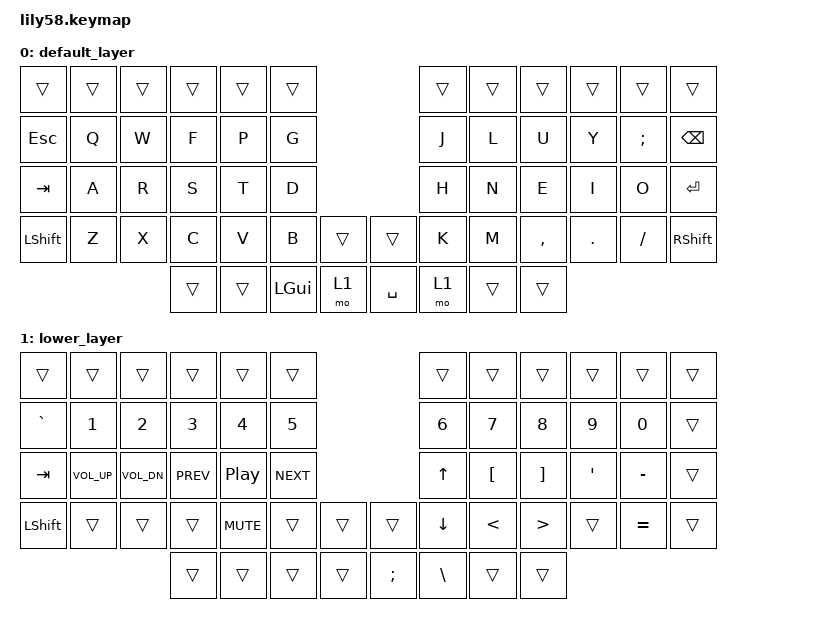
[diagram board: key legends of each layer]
/*
 * Copyright (c) 2020 The ZMK Contributors
 *
 * SPDX-License-Identifier: MIT
 */

#include <behaviors.dtsi>
#include <dt-bindings/zmk/keys.h>
#include <dt-bindings/zmk/bt.h>
#include <dt-bindings/zmk/ext_power.h>

/ {
    keymap {
        compatible = "zmk,keymap";

        default_layer {
            // ------------------------------------------------------------------------------------------------------------
            // |       |     |     |      |      |      |                   |      |       |       |      |       |       |
            // |  ESC  |  Q  |  W  |  F   |  P   |  G   |                   |  J   |  L    |  U    |  Y   | ;     | BSPC  |
            // |  TAB  |  A  |  R  |  S   |  T   |  D   |                   |  H   |  N    |  E    |  I   | O     | ENTER |
            // | SHIFT |  Z  |  X  |  C   |  V   |  B   |        |  |       |  K   |  M    |  ,    |  .   | /     | SHIFT |
            //                     |      |      | LGUI |  LOWER |  | SPACE | LOWER|       |       |

            bindings = <
&trans     &trans  &trans   &trans    &trans    &trans                         &trans    &trans    &trans    &trans    &trans    &trans
&kp ESC    &kp Q   &kp W    &kp F     &kp P     &kp G                          &kp J     &kp L     &kp U     &kp Y     &kp SEMI  &kp BSPC
&kp TAB    &kp A   &kp R    &kp S     &kp T     &kp D                          &kp H     &kp N     &kp E     &kp I     &kp O     &kp ENTER
&kp LSHFT  &kp Z   &kp X    &kp C     &kp V     &kp B    &trans      &trans    &kp K     &kp M     &kp COMMA &kp DOT   &kp FSLH  &kp RSHFT
                            &trans    &trans    &kp LGUI &mo 1       &kp SPACE &mo 1     &trans    &trans
            >;
        };

        lower_layer {
            // ------------------------------------------------------------------------------------------------------------
            // |       |      |     |      |      |      |                   |      |       |       |      |       |       |
            // | GRAVE | 1    | 2   |  3   |  4   |  5   |                   |  6   |  7    |  8    |  9   |   0   |       |
            // |  TAB  | VOLUP|VDOWN| PREV |PAUSE | NEXT |                   |  UP  |  [    |  ]    |  '   |   -   |       |
            // | SHIFT |      |     |      | MUTE |      |        |  |       | DOWN |  <    |  >    |      |   =   |       |
            //                      |      |      |      |        |  |   ;   |   \  |       |       |

            bindings = <
&trans     &trans      &trans        &trans        &trans        &trans                      &trans    &trans     &trans    &trans    &trans    &trans
&kp GRAVE  &kp N1      &kp N2        &kp N3        &kp N4        &kp N5                      &kp N6    &kp N7     &kp N8    &kp N9    &kp N0    &trans
&kp TAB    &kp C_VOL_UP &kp C_VOL_DN &kp C_PREV    &kp C_PP      &kp C_NEXT                  &kp UP    &kp LBKT   &kp RBKT  &kp SQT   &kp MINUS &trans
&kp LSHFT  &trans      &trans        &trans        &kp C_MUTE    &trans      &trans &trans   &kp DOWN  &kp LT     &kp GT    &trans    &kp EQUAL &trans
                                     &trans        &trans        &trans      &trans &kp SEMI &kp BSLH  &trans     &trans
            >;
        };
    };
};
